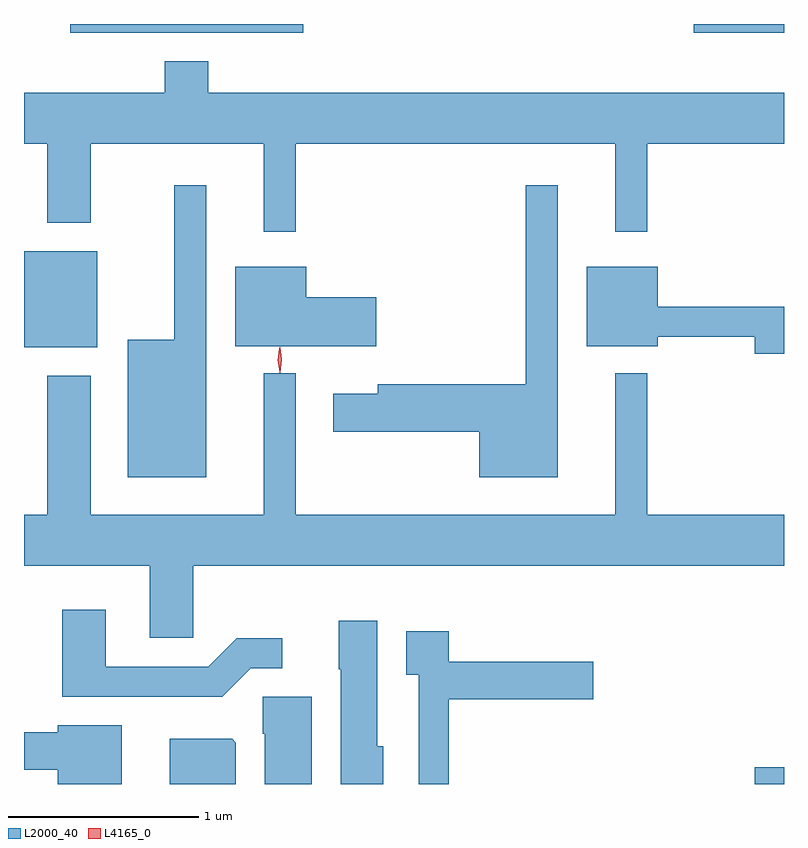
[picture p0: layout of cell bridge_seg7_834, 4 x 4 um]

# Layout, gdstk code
import gdstk
lib = gdstk.Library(unit=1e-6, precision=1e-09)
def R(c, l, rs):  # rectangles x0, y0, x1, y1
    for r in rs: c.add(gdstk.rectangle(r[:2], r[2:], *l))
def P(c, l, *ps):  # polygons
    for p in ps: c.add(gdstk.Polygon(p, *l))
L2000_40 = (2000, 40)
L4165_0 = (4165, 0)

bridge_seg7_834 = lib.new_cell('bridge_seg7_834')
R(bridge_seg7_834, L2000_40, [(381.766,1690.966,381.919,1691.054), (377.921,1693.266,378.304,1693.769), (378.163,1694.921,379.388,1694.966), (381.443,1694.921,381.919,1694.966)])
P(bridge_seg7_834, L2000_40, [(379.349,1694.336),(381.031,1694.336),(381.031,1693.873),(381.199,1693.873),(381.199,1694.336),(381.919,1694.336),(381.919,1694.604),(378.889,1694.604),(378.889,1694.769),(378.661,1694.769),(378.661,1694.604),(377.919,1694.604),(377.919,1694.336),(378.041,1694.336),(378.041,1693.921),(378.269,1693.921),(378.269,1694.336),(379.181,1694.336),(379.181,1693.873),(379.349,1693.873)],
  [(378.879,1694.118),(378.711,1694.118),(378.711,1693.304),(378.466,1693.304),(378.466,1692.581),(378.879,1692.581)],
  [(380.729,1694.118),(380.561,1694.118),(380.561,1693.069),(379.781,1693.069),(379.781,1693.019),(379.546,1693.019),(379.546,1692.821),(380.316,1692.821),(380.316,1692.581),(380.729,1692.581)],
  [(379.774,1693.529),(379.404,1693.529),(379.404,1693.689),(379.031,1693.689),(379.031,1693.271),(379.774,1693.271)],
  [(381.919,1693.479),(381.254,1693.479),(381.254,1693.689),(380.881,1693.689),(380.881,1693.271),(381.254,1693.271),(381.254,1693.321),(381.766,1693.321),(381.766,1693.231),(381.919,1693.231)],
  [(378.809,1692.116),(381.919,1692.116),(381.919,1692.384),(381.199,1692.384),(381.199,1693.128),(381.031,1693.128),(381.031,1692.384),(379.349,1692.384),(379.349,1693.128),(379.181,1693.128),(379.181,1692.384),(378.269,1692.384),(378.269,1693.114),(378.041,1693.114),(378.041,1692.384),(377.919,1692.384),(377.919,1692.116),(378.581,1692.116),(378.581,1691.736),(378.809,1691.736)],
  [(379.112,1691.576),(379.278,1691.576),(379.278,1691.734),(379.039,1691.734),(378.889,1691.584),(378.349,1691.584),(378.349,1691.884),(378.121,1691.884),(378.121,1691.426),(378.962,1691.426)],
  [(379.809,1691.164),(379.779,1691.164),(379.779,1691.824),(379.576,1691.824),(379.576,1691.57),(379.586,1691.57),(379.586,1690.966),(379.809,1690.966)],
  [(380.154,1691.411),(380.914,1691.411),(380.914,1691.609),(380.154,1691.609),(380.154,1691.769),(379.931,1691.769),(379.931,1691.541),(379.996,1691.541),(379.996,1690.966),(380.154,1690.966)],
  [(379.434,1691.424),(379.176,1691.424),(379.176,1691.23),(379.186,1691.23),(379.186,1690.966),(379.434,1690.966)],
  [(378.434,1691.274),(378.096,1691.274),(378.096,1691.239),(377.919,1691.239),(377.919,1691.041),(378.096,1691.041),(378.096,1690.966),(378.434,1690.966)],
  [(379.034,1691.184),(379.014,1691.204),(378.686,1691.204),(378.686,1690.966),(379.034,1690.966)])
P(bridge_seg7_834, L4165_0, [(379.266,1693.13),(379.256,1693.198),(379.266,1693.265),(379.266,1693.266),(379.267,1693.265),(379.276,1693.198),(379.267,1693.13),(379.267,1693.13)],
  [(379.264,1693.133),(379.264,1693.134),(379.254,1693.196),(379.263,1693.259),(379.263,1693.26),(379.264,1693.259),(379.273,1693.196),(379.264,1693.134)])

lib.write_gds('bridge_seg7_834.gds')
